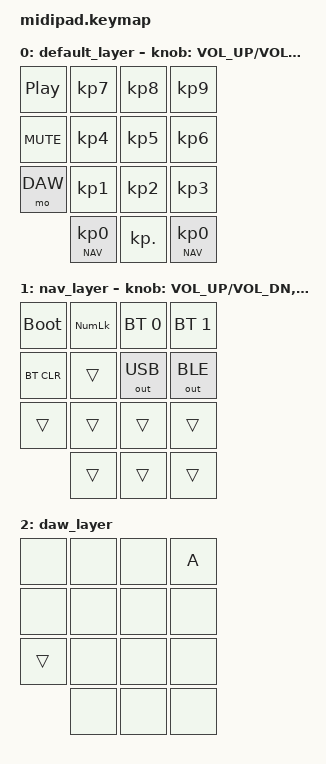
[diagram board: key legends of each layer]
/*
 * Copyright (c) 2020 Joel Spadin
 *
 * SPDX-License-Identifier: MIT
 */

#include <behaviors.dtsi>
#include <dt-bindings/zmk/keys.h>
#include <dt-bindings/zmk/bt.h>
#include <dt-bindings/zmk/outputs.h>

#define DEFAULT 0
#define NAV 1
#define DAW 2

/ {
    keymap {
        compatible = "zmk,keymap";

        default_layer {
// -----------------------------
// | PL/PS | 7     | 8 | 9     |
// | MUTE  | 4     | 5 | 6     |
// | MODE  | 1     | 2 | 3     |
// |       | NAV/0 | . | NAV/0 |
// -----------------------------
            bindings = <
                &kp C_PP    &kp KP_N7     &kp KP_N8  &kp KP_N9
                &kp C_MUTE  &kp KP_N4     &kp KP_N5  &kp KP_N6
                &mo DAW     &kp KP_N1     &kp KP_N2  &kp KP_N3
                            &lt NAV KP_N0 &kp KP_DOT &lt NAV KP_N0
            >;

// enc1 = volume, enc2 = volume, fader1 = none, fader2 = none
            sensor-bindings = <
                &inc_dec_cp C_VOL_UP C_VOL_DN
                &inc_dec_cp C_VOL_UP C_VOL_DN
            >;
        };

        nav_layer {
// --------------------------------
// | BOOTLD | NUMLK | BT 0 | BT 1 |
// | BTCLR  | _     | USB  | BLE  |
// | _      | _     | _    | _    |
// |        | _     | _    | _    |
// --------------------------------
            bindings = <
                &bootloader &kp KP_NUM  &bt BT_SEL 0 &bt BT_SEL 1
                &bt BT_CLR  &trans      &out OUT_USB &out OUT_BLE
                &trans      &trans      &trans       &trans
                            &trans      &trans       &trans
            >;

// enc1 = volume, enc2 = volume, fader1 = none, fader2 = none
            sensor-bindings = <
                &inc_dec_kp C_VOL_UP C_VOL_DN
                &inc_dec_kp C_VOL_UP C_VOL_DN
            >;
        };

        daw_layer {
// --------------------------
// | ???  | ??? | ??? | ??? |
// | ???  | ??? | ??? | ??? |
// | _    | ??? | ??? | ??? |
// |      | ??? | ??? | ??? |
// --------------------------
// https://github.com/zephyrproject-rtos/zephyr/issues/28709
            bindings = <
                &none  &none &none &kp A
                &none  &none &none &none
                &trans &none &none &none
                       &none &none &none
            >;

// enc1 = MIDI CC?, enc2 = MIDI CC?, fader1 = MIDI CC?, fader2 = MIDI CC?
            // sensor-bindings = <??? ???>;
        };
    };
};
